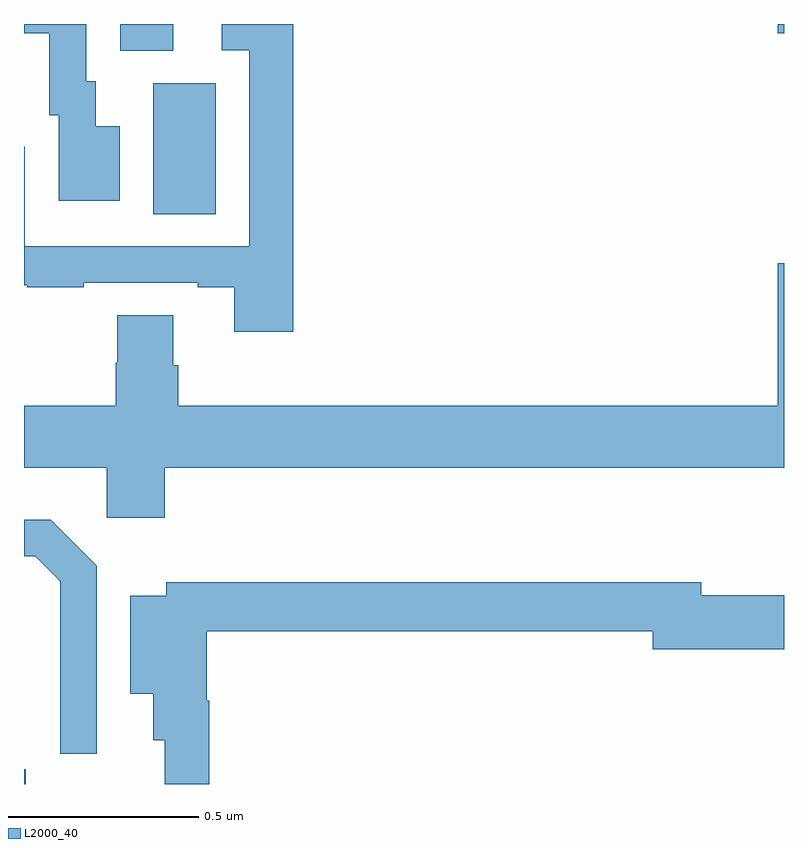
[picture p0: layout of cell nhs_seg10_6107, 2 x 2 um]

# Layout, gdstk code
import gdstk
lib = gdstk.Library(unit=1e-6, precision=1e-09)
def R(c, l, rs):  # rectangles x0, y0, x1, y1
    for r in rs: c.add(gdstk.rectangle(r[:2], r[2:], *l))
def P(c, l, *ps):  # polygons
    for p in ps: c.add(gdstk.Polygon(p, *l))
L2000_40 = (2000, 40)

nhs_seg10_6107 = lib.new_cell('nhs_seg10_6107')
R(nhs_seg10_6107, L2000_40, [(187,1283.5,187.005,1283.539), (187.34,1285,187.504,1285.344), (187.253,1285.429,187.393,1285.5), (188.984,1285.476,189,1285.5)])
P(nhs_seg10_6107, L2000_40, [(187.709,1285.5),(187.521,1285.5),(187.521,1285.431),(187.593,1285.431),(187.593,1284.915),(187.002,1284.915),(187.002,1285.177),(187,1285.177),(187,1284.813),(187.009,1284.813),(187.009,1284.807),(187.157,1284.807),(187.157,1284.819),(187.457,1284.819),(187.457,1284.807),(187.553,1284.807),(187.553,1284.69),(187.709,1284.69)],
  [(187.252,1285.231),(187.189,1285.231),(187.189,1285.35),(187.164,1285.35),(187.164,1285.5),(187,1285.5),(187,1285.476),(187.067,1285.476),(187.067,1285.26),(187.091,1285.26),(187.091,1285.035),(187.252,1285.035)],
  [(187.37,1284.332),(189,1284.332),(189,1284.871),(188.984,1284.871),(188.984,1284.496),(187.406,1284.496),(187.406,1284.602),(187.393,1284.602),(187.393,1284.734),(187.246,1284.734),(187.246,1284.609),(187.241,1284.609),(187.241,1284.496),(187,1284.496),(187,1284.332),(187.218,1284.332),(187.218,1284.201),(187.37,1284.201)],
  [(187.191,1284.075),(187.07,1284.196),(187,1284.196),(187,1284.099),(187.029,1284.099),(187.095,1284.033),(187.095,1283.58),(187.191,1283.58)],
  [(187.487,1283.719),(187.481,1283.719),(187.481,1283.902),(188.654,1283.902),(188.654,1283.855),(189,1283.855),(189,1283.997),(188.782,1283.997),(188.782,1284.031),(187.374,1284.031),(187.374,1283.995),(187.28,1283.995),(187.28,1283.738),(187.34,1283.738),(187.34,1283.615),(187.37,1283.615),(187.37,1283.5),(187.487,1283.5)])

lib.write_gds('nhs_seg10_6107.gds')
